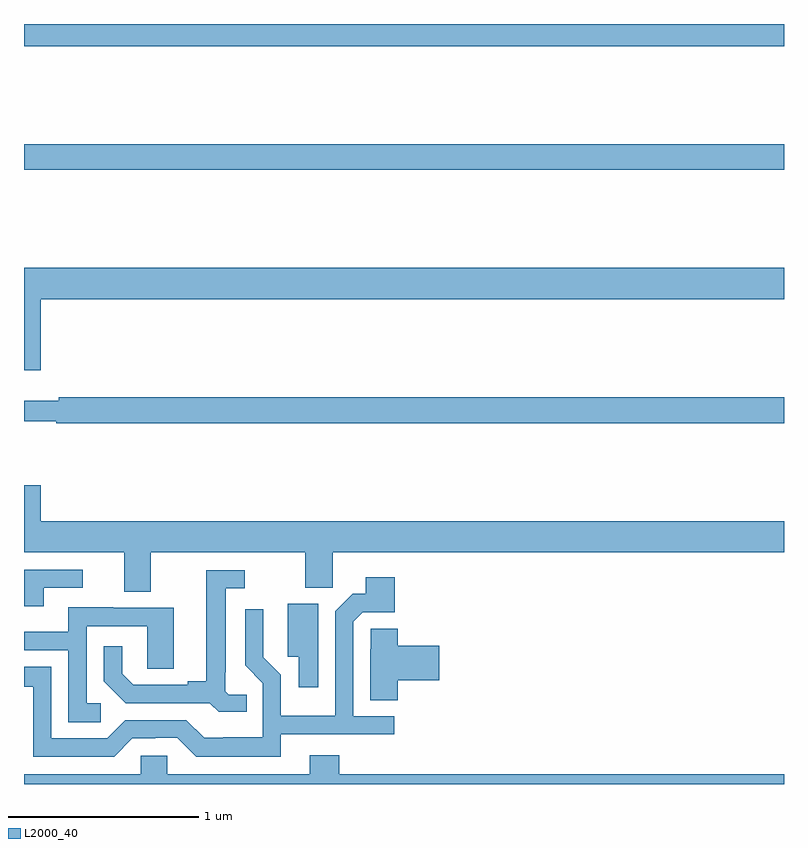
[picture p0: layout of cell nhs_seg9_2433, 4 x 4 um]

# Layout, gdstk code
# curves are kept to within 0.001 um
import gdstk
lib = gdstk.Library(unit=1e-6, precision=1e-09)
def R(c, l, rs):  # rectangles x0, y0, x1, y1
    for r in rs: c.add(gdstk.rectangle(r[:2], r[2:], *l))
def P(c, l, *ps):  # polygons
    for p in ps: c.add(gdstk.Polygon(p, *l))
L2000_40 = (2000, 40)

nhs_seg9_2433 = lib.new_cell('nhs_seg9_2433')
R(nhs_seg9_2433, L2000_40, [(249,1231.732,253,1231.868), (249,1232.384,253,1232.5)])
P(nhs_seg9_2433, L2000_40, [(249.088,1231.052),(253,1231.052),(253,1231.216),(249,1231.216),(249,1230.678),(249.088,1230.678)],
  [(253,1230.536),(249.184,1230.536),(249.184,1230.517),(249,1230.517),(249,1230.408),(249.17,1230.408),(249.17,1230.4),(253,1230.4)],
  [(249.667,1229.72),(250.48,1229.72),(250.48,1229.533),(250.626,1229.533),(250.626,1229.72),(253,1229.72),(253,1229.884),(249.088,1229.884),(249.088,1230.073),(249,1230.073),(249,1229.72),(249.527,1229.72),(249.527,1229.512),(249.667,1229.512)],
  [(249.103,1229.532),(249.31,1229.532),(249.31,1229.628),(249,1229.628),(249,1229.435),(249.103,1229.435)],
  [(250.172,1228.971),(250.077,1228.971),(250.059,1228.989),(250.059,1229.089),(250.063,1229.089),(250.063,1229.529),(250.162,1229.529),(250.162,1229.625),(249.959,1229.625),(249.959,1229.042),(249.863,1229.042),(249.863,1229.022),(249.574,1229.022),(249.517,1229.079),(249.517,1229.224),(249.42,1229.224),(249.42,1229.042),(249.536,1228.926),(249.978,1228.926),(250.026,1228.879),(250.172,1228.879)],
  [(250.351,1228.761),(250.948,1228.761),(250.948,1228.857),(250.734,1228.857),(250.734,1229.355),(250.782,1229.403),(250.952,1229.403),(250.952,1229.587),(250.799,1229.587),(250.799,1229.502),(250.731,1229.502),(250.638,1229.409),(250.638,1228.858),(250.35,1228.858),(250.35,1229.074),(250.259,1229.166),(250.26,1229.419),(250.164,1229.419),(250.164,1229.124),(250.257,1229.031),(250.257,1228.747),(250.048,1228.747),(250.048,1228.743),(249.948,1228.743),(249.855,1228.836),(249.534,1228.836),(249.438,1228.74),(249.144,1228.74),(249.144,1229.116),(249,1229.116),(249,1229.013),(249.048,1229.013),(249.048,1228.644),(249.474,1228.644),(249.57,1228.74),(249.69,1228.74),(249.69,1228.743),(249.807,1228.743),(249.907,1228.643),(250.351,1228.643)],
  [(250.549,1229.448),(250.388,1229.448),(250.388,1229.169),(250.445,1229.169),(250.445,1229.01),(250.549,1229.01)],
  [(249.403,1228.926),(249.33,1228.926),(249.33,1229.331),(249.648,1229.331),(249.648,1229.107),(249.787,1229.107),(249.787,1229.427),(249.469,1229.427),(249.469,1229.431),(249.233,1229.431),(249.233,1229.302),(249,1229.302),(249,1229.205),(249.234,1229.205),(249.234,1228.825),(249.403,1228.825)],
  [(250.967,1229.045),(251.185,1229.045),(251.185,1229.228),(250.967,1229.228),(250.967,1229.318),(250.824,1229.318),(250.824,1229.21),(250.823,1229.21),(250.823,1228.942),(250.967,1228.942)],
  [(253,1228.552),(250.658,1228.552),(250.658,1228.651),(250.505,1228.651),(250.505,1228.552),(249.753,1228.552),(249.753,1228.65),(249.615,1228.65),(249.615,1228.552),(249,1228.552),(249,1228.5),(253,1228.5)])

lib.write_gds('nhs_seg9_2433.gds')
